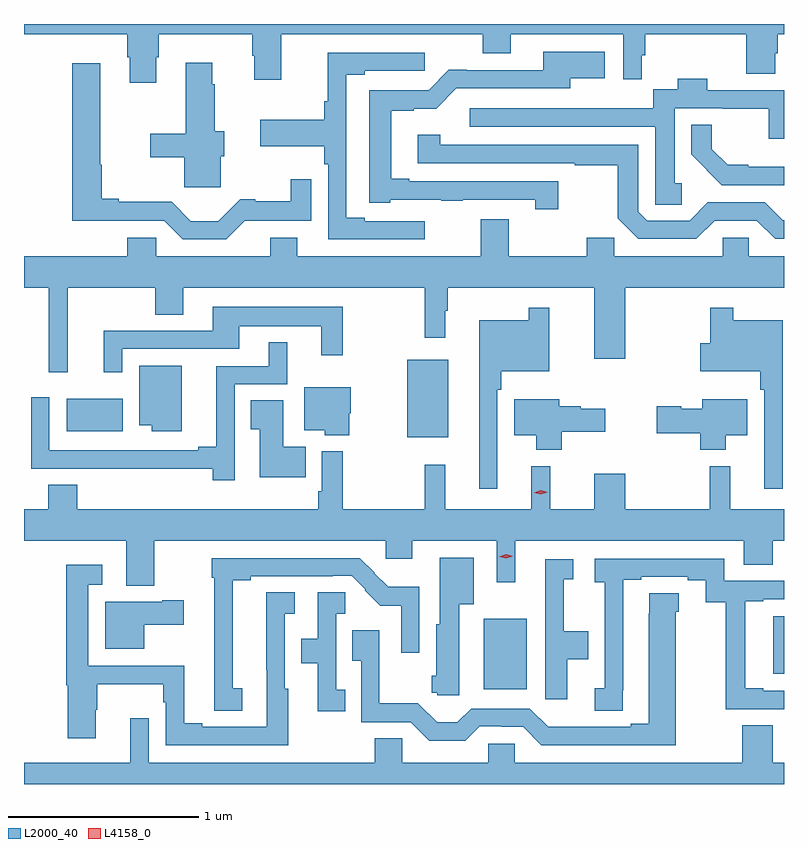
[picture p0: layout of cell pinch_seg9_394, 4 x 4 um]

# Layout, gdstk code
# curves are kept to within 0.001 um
import gdstk
lib = gdstk.Library(unit=1e-6, precision=1e-09)
def R(c, l, rs):  # rectangles x0, y0, x1, y1
    for r in rs: c.add(gdstk.rectangle(r[:2], r[2:], *l))
def P(c, l, *ps):  # polygons
    for p in ps: c.add(gdstk.Polygon(p, *l))
L2000_40 = (2000, 40)
L4158_0 = (4158, 0)

pinch_seg9_394 = lib.new_cell('pinch_seg9_394')
R(pinch_seg9_394, L2000_40, [(320.27,1212.953,320.497,1213.324), (321.794,1213.034,321.851,1213.339), (319.868,1214.279,320.083,1214.689), (318.077,1214.312,318.37,1214.482)])
P(pinch_seg9_394, L2000_40, [(317.851,1216.4),(318.395,1216.4),(318.395,1216.281),(318.407,1216.281),(318.407,1216.146),(318.547,1216.146),(318.547,1216.281),(318.56,1216.281),(318.56,1216.4),(319.052,1216.4),(319.052,1216.289),(319.064,1216.289),(319.064,1216.161),(319.204,1216.161),(319.204,1216.4),(320.266,1216.4),(320.266,1216.301),(320.413,1216.301),(320.413,1216.4),(321.006,1216.4),(321.006,1216.164),(321.103,1216.164),(321.103,1216.29),(321.122,1216.29),(321.122,1216.4),(321.653,1216.4),(321.653,1216.192),(321.805,1216.192),(321.805,1216.302),(321.818,1216.302),(321.818,1216.4),(321.851,1216.4),(321.851,1216.455),(317.851,1216.455)],
  [(320.662,1215.627),(319.879,1215.627),(319.879,1215.64),(319.783,1215.64),(319.783,1215.999),(319.902,1215.999),(319.902,1216.01),(320.021,1216.01),(320.127,1216.116),(320.725,1216.116),(320.725,1216.169),(320.908,1216.169),(320.908,1216.309),(320.585,1216.309),(320.585,1216.212),(320.182,1216.212),(320.182,1216.214),(320.087,1216.214),(319.98,1216.107),(319.667,1216.107),(319.667,1215.513),(319.779,1215.513),(319.779,1215.531),(320.047,1215.531),(320.047,1215.526),(320.159,1215.526),(320.159,1215.531),(320.541,1215.531),(320.541,1215.48),(320.662,1215.48)],
  [(319.96,1215.417),(319.645,1215.417),(319.645,1215.435),(319.548,1215.435),(319.548,1216.189),(319.645,1216.189),(319.645,1216.209),(319.96,1216.209),(319.96,1216.305),(319.45,1216.305),(319.45,1216.048),(319.432,1216.048),(319.432,1215.952),(319.095,1215.952),(319.095,1215.812),(319.432,1215.812),(319.432,1215.716),(319.452,1215.716),(319.452,1215.321),(319.96,1215.321)],
  [(318.886,1215.759),(318.904,1215.759),(318.904,1215.89),(318.854,1215.89),(318.854,1216.139),(318.841,1216.139),(318.841,1216.252),(318.701,1216.252),(318.701,1215.877),(318.516,1215.877),(318.516,1215.755),(318.694,1215.755),(318.694,1215.596),(318.886,1215.596)],
  [(319.013,1215.419),(319.362,1215.419),(319.362,1215.637),(319.254,1215.637),(319.254,1215.521),(319.069,1215.521),(319.069,1215.533),(318.988,1215.533),(318.873,1215.418),(318.728,1215.418),(318.628,1215.519),(318.349,1215.519),(318.349,1215.536),(318.261,1215.536),(318.261,1215.713),(318.253,1215.713),(318.253,1216.249),(318.106,1216.249),(318.106,1215.419),(318.588,1215.42),(318.687,1215.321),(318.915,1215.321)],
  [(321.312,1215.616),(321.277,1215.616),(321.277,1216.011),(321.529,1216.011),(321.529,1216.01),(321.772,1216.01),(321.772,1215.852),(321.851,1215.852),(321.851,1216.107),(321.446,1216.107),(321.446,1216.168),(321.293,1216.168),(321.293,1216.111),(321.164,1216.111),(321.164,1216.012),(320.895,1216.012),(320.895,1216.011),(320.196,1216.011),(320.196,1215.915),(321.173,1215.915),(321.173,1215.613),(321.174,1215.613),(321.174,1215.505),(321.312,1215.505)],
  [(321.851,1215.703),(321.664,1215.703),(321.664,1215.714),(321.555,1215.714),(321.472,1215.797),(321.472,1215.926),(321.362,1215.926),(321.362,1215.769),(321.446,1215.686),(321.445,1215.685),(321.524,1215.606),(321.851,1215.606)],
  [(321.486,1215.42),(321.708,1215.42),(321.804,1215.324),(321.851,1215.324),(321.851,1215.421),(321.845,1215.421),(321.75,1215.516),(321.45,1215.516),(321.354,1215.42),(321.132,1215.42),(321.084,1215.468),(321.084,1215.819),(320.043,1215.819),(320.043,1215.871),(319.923,1215.871),(319.923,1215.723),(320.749,1215.723),(320.749,1215.711),(320.976,1215.711),(320.976,1215.433),(321.084,1215.324),(321.39,1215.324)],
  [(319.288,1215.331),(319.148,1215.331),(319.148,1215.232),(318.546,1215.232),(318.546,1215.33),(318.395,1215.33),(318.395,1215.232),(317.851,1215.232),(317.851,1215.068),(317.981,1215.068),(317.981,1214.622),(318.08,1214.622),(318.08,1215.068),(318.541,1215.068),(318.541,1214.926),(318.688,1214.926),(318.688,1215.068),(319.959,1215.068),(319.959,1214.805),(320.068,1214.805),(320.068,1214.945),(320.08,1214.945),(320.08,1215.068),(320.852,1215.068),(320.852,1214.694),(321.016,1214.694),(321.016,1215.068),(321.851,1215.068),(321.851,1215.232),(321.666,1215.232),(321.666,1215.33),(321.528,1215.33),(321.528,1215.232),(320.957,1215.232),(320.957,1215.33),(320.812,1215.33),(320.812,1215.232),(320.403,1215.232),(320.403,1215.427),(320.255,1215.427),(320.255,1215.232),(319.288,1215.232)],
  [(318.369,1214.745),(318.985,1214.745),(318.985,1214.864),(319.415,1214.864),(319.415,1214.712),(319.529,1214.712),(319.529,1214.968),(318.845,1214.968),(318.845,1214.841),(318.272,1214.841),(318.272,1214.622),(318.369,1214.622)],
  [(320.343,1214.531),(320.363,1214.531),(320.363,1214.627),(320.616,1214.627),(320.616,1214.962),(320.508,1214.962),(320.508,1214.896),(320.246,1214.896),(320.246,1214.01),(320.343,1214.01)],
  [(321.844,1214.896),(321.583,1214.896),(321.583,1214.962),(321.462,1214.962),(321.462,1214.775),(321.41,1214.775),(321.41,1214.627),(321.727,1214.627),(321.727,1214.531),(321.747,1214.531),(321.747,1214.01),(321.844,1214.01)],
  [(318.96,1214.559),(319.237,1214.559),(319.237,1214.779),(319.139,1214.779),(319.139,1214.655),(318.863,1214.655),(318.863,1214.231),(318.767,1214.231),(318.767,1214.211),(317.985,1214.211),(317.985,1214.491),(317.889,1214.491),(317.889,1214.115),(318.214,1214.115),(318.214,1214.114),(318.844,1214.114),(318.844,1214.055),(318.96,1214.055)],
  [(318.682,1214.656),(318.458,1214.656),(318.458,1214.342),(318.524,1214.342),(318.524,1214.312),(318.682,1214.312)],
  [(319.563,1214.406),(319.57,1214.406),(319.57,1214.542),(319.325,1214.542),(319.325,1214.318),(319.434,1214.318),(319.434,1214.291),(319.563,1214.291)],
  [(321.544,1214.291),(321.658,1214.291),(321.658,1214.479),(321.422,1214.479),(321.422,1214.431),(321.309,1214.431),(321.309,1214.444),(321.18,1214.444),(321.18,1214.302),(321.41,1214.302),(321.41,1214.213),(321.544,1214.213)],
  [(320.681,1214.309),(320.911,1214.309),(320.911,1214.431),(320.781,1214.431),(320.781,1214.444),(320.668,1214.444),(320.668,1214.479),(320.432,1214.479),(320.432,1214.291),(320.546,1214.291),(320.546,1214.213),(320.681,1214.213)],
  [(319.334,1214.23),(319.216,1214.23),(319.216,1214.474),(319.045,1214.474),(319.045,1214.323),(319.091,1214.323),(319.091,1214.069),(319.334,1214.069)],
  [(318.537,1213.736),(319.755,1213.736),(319.755,1213.641),(319.894,1213.641),(319.894,1213.736),(320.34,1213.736),(320.34,1213.518),(320.437,1213.518),(320.437,1213.736),(321.638,1213.736),(321.638,1213.609),(321.791,1213.609),(321.791,1213.736),(321.851,1213.736),(321.851,1213.9),(321.569,1213.9),(321.569,1214.128),(321.459,1214.128),(321.459,1213.9),(321.016,1213.9),(321.016,1214.089),(320.852,1214.089),(320.852,1213.9),(320.622,1213.9),(320.622,1214.128),(320.522,1214.128),(320.522,1213.9),(320.069,1213.9),(320.069,1214.134),(319.959,1214.134),(319.959,1213.9),(319.528,1213.9),(319.528,1214.206),(319.419,1214.206),(319.419,1213.996),(319.399,1213.996),(319.399,1213.9),(318.131,1213.9),(318.131,1214.03),(317.978,1214.03),(317.978,1213.9),(317.851,1213.9),(317.851,1213.736),(318.389,1213.736),(318.389,1213.499),(318.537,1213.499)],
  [(320.143,1213.4),(320.218,1213.4),(320.218,1213.645),(320.04,1213.645),(320.04,1213.296),(320.021,1213.296),(320.021,1213.026),(319.997,1213.026),(319.997,1212.936),(320.025,1212.936),(320.025,1212.921),(320.143,1212.921)],
  [(319,1212.96),(318.95,1212.96),(318.95,1213.528),(319.045,1213.528),(319.045,1213.548),(319.475,1213.548),(319.475,1213.551),(319.575,1213.551),(319.647,1213.479),(319.644,1213.476),(319.727,1213.394),(319.836,1213.394),(319.836,1213.146),(319.932,1213.146),(319.932,1213.492),(319.767,1213.492),(319.694,1213.565),(319.696,1213.567),(319.618,1213.644),(318.84,1213.644),(318.84,1213.541),(318.851,1213.541),(318.851,1212.841),(319,1212.841)],
  [(321.003,1212.949),(321.004,1212.949),(321.004,1213.53),(321.1,1213.53),(321.1,1213.545),(321.344,1213.545),(321.344,1213.527),(321.44,1213.527),(321.44,1213.412),(321.544,1213.412),(321.544,1212.849),(321.851,1212.849),(321.851,1212.945),(321.742,1212.945),(321.742,1212.958),(321.646,1212.958),(321.646,1213.416),(321.742,1213.416),(321.742,1213.428),(321.851,1213.428),(321.851,1213.524),(321.537,1213.524),(321.537,1213.641),(320.856,1213.641),(320.856,1213.517),(320.907,1213.517),(320.907,1212.96),(320.856,1212.96),(320.856,1212.841),(321.003,1212.841)],
  [(320.71,1213.111),(320.822,1213.111),(320.822,1213.258),(320.693,1213.258),(320.693,1213.533),(320.743,1213.533),(320.743,1213.639),(320.594,1213.639),(320.594,1212.9),(320.71,1212.9)],
  [(319.243,1212.957),(319.224,1212.957),(319.224,1213.352),(319.276,1213.352),(319.276,1213.463),(319.127,1213.463),(319.127,1213.057),(319.128,1213.057),(319.128,1212.756),(318.79,1212.756),(318.79,1212.776),(318.694,1212.776),(318.694,1213.077),(318.189,1213.077),(318.189,1213.503),(318.262,1213.503),(318.262,1213.609),(318.073,1213.609),(318.073,1212.974),(318.08,1212.974),(318.08,1212.696),(318.229,1212.696),(318.229,1212.846),(318.237,1212.846),(318.237,1212.98),(318.585,1212.98),(318.585,1212.884),(318.597,1212.884),(318.597,1212.66),(319.243,1212.66)],
  [(319.541,1212.95),(319.494,1212.95),(319.494,1213.352),(319.543,1213.352),(319.543,1213.463),(319.398,1213.463),(319.398,1213.219),(319.309,1213.219),(319.309,1213.09),(319.397,1213.09),(319.397,1212.837),(319.541,1212.837)],
  [(321.28,1213.362),(321.298,1213.362),(321.298,1213.46),(321.141,1213.46),(321.14,1212.771),(321.044,1212.771),(321.044,1212.756),(320.609,1212.757),(320.514,1212.852),(320.205,1212.852),(320.132,1212.779),(320.026,1212.779),(319.924,1212.881),(319.722,1212.881),(319.722,1213.264),(319.579,1213.264),(319.579,1213.103),(319.626,1213.103),(319.626,1212.78),(319.887,1212.78),(319.984,1212.683),(320.174,1212.683),(320.25,1212.759),(320.363,1212.759),(320.363,1212.756),(320.478,1212.756),(320.574,1212.66),(321.28,1212.66)],
  [(318.484,1213.292),(318.691,1213.292),(318.691,1213.422),(318.578,1213.422),(318.578,1213.414),(318.278,1213.414),(318.278,1213.166),(318.484,1213.166)],
  [(320.433,1212.666),(320.295,1212.666),(320.295,1212.568),(319.842,1212.568),(319.842,1212.695),(319.696,1212.695),(319.696,1212.568),(318.507,1212.568),(318.507,1212.802),(318.41,1212.802),(318.41,1212.568),(317.851,1212.568),(317.851,1212.455),(321.851,1212.455),(321.851,1212.568),(321.791,1212.568),(321.791,1212.764),(321.631,1212.764),(321.631,1212.568),(320.433,1212.568)])
P(pinch_seg9_394, L4158_0, [(320.388,1213.643),(320.353,1213.652),(320.353,1213.652),(320.353,1213.652),(320.388,1213.663),(320.424,1213.654),(320.424,1213.654),(320.424,1213.653)],
  [(320.572,1213.98),(320.536,1213.989),(320.536,1213.989),(320.536,1213.989),(320.571,1214),(320.607,1213.991),(320.607,1213.991),(320.607,1213.99)])

lib.write_gds('pinch_seg9_394.gds')
